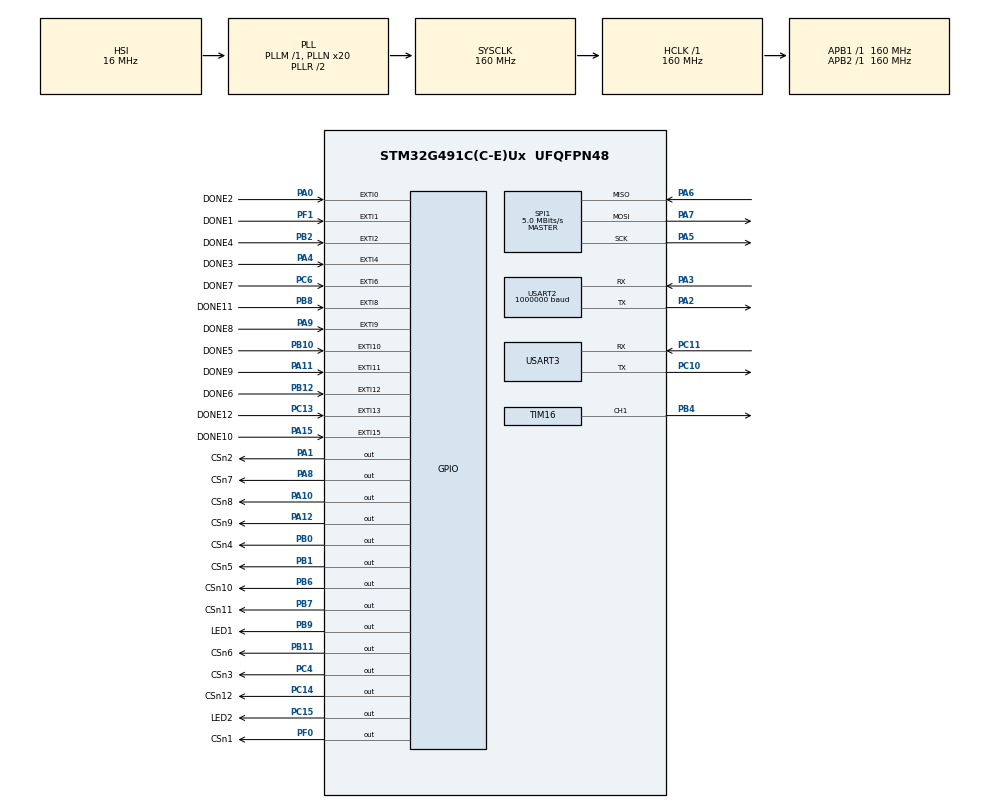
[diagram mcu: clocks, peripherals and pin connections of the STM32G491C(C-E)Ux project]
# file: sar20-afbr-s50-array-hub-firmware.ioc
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Dma.Request0=USART2_RX
Dma.Request1=USART2_TX
Dma.USART2_RX.0.Direction=DMA_PERIPH_TO_MEMORY
Dma.USART2_RX.0.EventEnable=DISABLE
Dma.USART2_RX.0.Instance=DMA1_Channel1
Dma.USART2_RX.0.MemDataAlignment=DMA_MDATAALIGN_BYTE
Dma.USART2_RX.0.MemInc=DMA_MINC_ENABLE
Dma.USART2_RX.0.Mode=DMA_NORMAL
Dma.USART2_RX.0.PeriphDataAlignment=DMA_PDATAALIGN_BYTE
Dma.USART2_RX.0.PeriphInc=DMA_PINC_DISABLE
Dma.USART2_RX.0.Polarity=HAL_DMAMUX_REQ_GEN_RISING
Dma.USART2_RX.0.Priority=DMA_PRIORITY_LOW
Dma.USART2_RX.0.RequestNumber=1
Dma.USART2_RX.0.SignalID=NONE
Dma.USART2_RX.0.SyncEnable=DISABLE
Dma.USART2_RX.0.SyncPolarity=HAL_DMAMUX_SYNC_NO_EVENT
Dma.USART2_RX.0.SyncRequestNumber=1
Dma.USART2_RX.0.SyncSignalID=NONE
Dma.USART2_TX.1.Direction=DMA_MEMORY_TO_PERIPH
Dma.USART2_TX.1.EventEnable=DISABLE
Dma.USART2_TX.1.Instance=DMA1_Channel2
Dma.USART2_TX.1.MemDataAlignment=DMA_MDATAALIGN_BYTE
Dma.USART2_TX.1.MemInc=DMA_MINC_ENABLE
Dma.USART2_TX.1.Mode=DMA_NORMAL
Dma.USART2_TX.1.PeriphDataAlignment=DMA_PDATAALIGN_BYTE
Dma.USART2_TX.1.PeriphInc=DMA_PINC_DISABLE
Dma.USART2_TX.1.Polarity=HAL_DMAMUX_REQ_GEN_RISING
Dma.USART2_TX.1.Priority=DMA_PRIORITY_LOW
Dma.USART2_TX.1.RequestNumber=1
Dma.USART2_TX.1.SignalID=NONE
Dma.USART2_TX.1.SyncEnable=DISABLE
Dma.USART2_TX.1.SyncPolarity=HAL_DMAMUX_SYNC_NO_EVENT
Dma.USART2_TX.1.SyncRequestNumber=1
Dma.USART2_TX.1.SyncSignalID=NONE
Mcu.Family=STM32G4
Mcu.Name=STM32G491C(C-E)Ux
Mcu.Package=UFQFPN48
NVIC.DMA1_Channel1_IRQn=true\:0\:0\:false\:false\:true\:false\:true
NVIC.DMA1_Channel2_IRQn=true\:0\:0\:false\:false\:true\:false\:true
NVIC.EXTI0_IRQn=true\:0\:0\:false\:false\:true\:true\:true
NVIC.EXTI15_10_IRQn=true\:0\:0\:false\:false\:true\:true\:true
NVIC.EXTI1_IRQn=true\:0\:0\:false\:false\:true\:true\:true
NVIC.EXTI2_IRQn=true\:0\:0\:false\:false\:true\:true\:true
NVIC.EXTI4_IRQn=true\:0\:0\:false\:false\:true\:true\:true
NVIC.EXTI9_5_IRQn=true\:0\:0\:false\:false\:true\:true\:true
NVIC.PriorityGroup=NVIC_PRIORITYGROUP_4
NVIC.USART2_IRQn=true\:0\:0\:false\:false\:true\:true\:true
PA0.GPIO_Label=DONE2
PA0.Signal=GPXTI0
PA1.GPIO_Label=CSn2
PA1.PinState=GPIO_PIN_SET
PA1.Signal=GPIO_Output
PA10.GPIO_Label=CSn8
PA10.GPIO_ModeDefaultOutputPP=GPIO_MODE_OUTPUT_PP
PA10.GPIO_PuPd=GPIO_NOPULL
PA10.GPIO_Speed=GPIO_SPEED_FREQ_LOW
PA10.PinState=GPIO_PIN_SET
PA10.Signal=GPIO_Output
PA11.GPIO_Label=DONE9
PA11.Signal=GPXTI11
PA12.GPIO_Label=CSn9
PA12.GPIO_ModeDefaultOutputPP=GPIO_MODE_OUTPUT_PP
PA12.GPIO_PuPd=GPIO_NOPULL
PA12.GPIO_Speed=GPIO_SPEED_FREQ_LOW
PA12.PinState=GPIO_PIN_SET
PA12.Signal=GPIO_Output
PA13.Mode=Serial_Wire
PA13.Signal=SYS_JTMS-SWDIO
PA14.Mode=Serial_Wire
PA14.Signal=SYS_JTCK-SWCLK
PA15.GPIO_Label=DONE10
PA15.Signal=GPXTI15
PA2.Mode=Asynchronous
PA2.Signal=USART2_TX
PA3.Mode=Asynchronous
PA3.Signal=USART2_RX
PA4.GPIO_Label=DONE3
PA4.Signal=GPXTI4
PA5.GPIO_Speed=GPIO_SPEED_FREQ_VERY_HIGH
PA5.Mode=Full_Duplex_Master
PA5.Signal=SPI1_SCK
PA6.GPIO_Speed=GPIO_SPEED_FREQ_VERY_HIGH
PA6.Mode=Full_Duplex_Master
PA6.Signal=SPI1_MISO
PA7.GPIO_Speed=GPIO_SPEED_FREQ_VERY_HIGH
PA7.Mode=Full_Duplex_Master
PA7.Signal=SPI1_MOSI
PA8.GPIO_Label=CSn7
PA8.GPIO_ModeDefaultOutputPP=GPIO_MODE_OUTPUT_PP
PA8.GPIO_PuPd=GPIO_NOPULL
PA8.GPIO_Speed=GPIO_SPEED_FREQ_LOW
PA8.PinState=GPIO_PIN_SET
PA8.Signal=GPIO_Output
PA9.GPIO_Label=DONE8
PA9.Signal=GPXTI9
PB0.GPIO_Label=CSn4
PB0.GPIO_ModeDefaultOutputPP=GPIO_MODE_OUTPUT_PP
PB0.GPIO_PuPd=GPIO_NOPULL
PB0.GPIO_Speed=GPIO_SPEED_FREQ_LOW
PB0.PinState=GPIO_PIN_SET
PB0.Signal=GPIO_Output
PB1.GPIO_Label=CSn5
PB1.GPIO_ModeDefaultOutputPP=GPIO_MODE_OUTPUT_PP
PB1.GPIO_PuPd=GPIO_NOPULL
PB1.GPIO_Speed=GPIO_SPEED_FREQ_LOW
PB1.PinState=GPIO_PIN_SET
PB1.Signal=GPIO_Output
PB10.GPIO_Label=DONE5
PB10.Signal=GPXTI10
PB11.GPIO_Label=CSn6
PB11.GPIO_ModeDefaultOutputPP=GPIO_MODE_OUTPUT_PP
PB11.GPIO_PuPd=GPIO_NOPULL
PB11.GPIO_Speed=GPIO_SPEED_FREQ_LOW
PB11.PinState=GPIO_PIN_SET
PB11.Signal=GPIO_Output
PB12.GPIO_Label=DONE6
PB12.Signal=GPXTI12
PB2.GPIO_Label=DONE4
PB2.Signal=GPXTI2
PB4.Signal=S_TIM16_CH1
PB6.GPIO_Label=CSn10
PB6.GPIO_ModeDefaultOutputPP=GPIO_MODE_OUTPUT_PP
PB6.GPIO_PuPd=GPIO_NOPULL
PB6.GPIO_Speed=GPIO_SPEED_FREQ_LOW
PB6.PinState=GPIO_PIN_SET
PB6.Signal=GPIO_Output
PB7.GPIO_Label=CSn11
PB7.GPIO_ModeDefaultOutputPP=GPIO_MODE_OUTPUT_PP
PB7.GPIO_PuPd=GPIO_NOPULL
PB7.GPIO_Speed=GPIO_SPEED_FREQ_LOW
PB7.PinState=GPIO_PIN_SET
PB7.Signal=GPIO_Output
PB8-BOOT0.GPIO_Label=DONE11
PB8-BOOT0.Signal=GPXTI8
PB9.GPIO_Label=LED1
PB9.Signal=GPIO_Output
PC10.Mode=Asynchronous
PC10.Signal=USART3_TX
PC11.Mode=Asynchronous
PC11.Signal=USART3_RX
PC13.GPIO_Label=DONE12
PC13.Signal=GPXTI13
PC14-OSC32_IN.GPIO_Label=CSn12
PC14-OSC32_IN.GPIO_ModeDefaultOutputPP=GPIO_MODE_OUTPUT_PP
PC14-OSC32_IN.GPIO_PuPd=GPIO_NOPULL
PC14-OSC32_IN.GPIO_Speed=GPIO_SPEED_FREQ_LOW
PC14-OSC32_IN.PinState=GPIO_PIN_SET
PC14-OSC32_IN.Signal=GPIO_Output
PC15-OSC32_OUT.GPIO_Label=LED2
PC15-OSC32_OUT.Signal=GPIO_Output
PC4.GPIO_Label=CSn3
PC4.GPIO_ModeDefaultOutputPP=GPIO_MODE_OUTPUT_PP
PC4.GPIO_PuPd=GPIO_NOPULL
PC4.GPIO_Speed=GPIO_SPEED_FREQ_LOW
PC4.PinState=GPIO_PIN_SET
PC4.Signal=GPIO_Output
PC6.GPIO_Label=DONE7
PC6.Signal=GPXTI6
PF0-OSC_IN.GPIO_Label=CSn1
PF0-OSC_IN.PinState=GPIO_PIN_SET
PF0-OSC_IN.Signal=GPIO_Output
PF1-OSC_OUT.GPIO_Label=DONE1
PF1-OSC_OUT.Signal=GPXTI1
ProjectManager.HeapSize=0x200
ProjectManager.StackSize=0x400
ProjectManager.TargetToolchain=STM32CubeIDE
RCC.ADC12Freq_Value=160000000
RCC.ADC345Freq_Value=160000000
RCC.AHBFreq_Value=160000000
RCC.APB1Freq_Value=160000000
RCC.APB1TimFreq_Value=160000000
RCC.APB2Freq_Value=160000000
RCC.APB2TimFreq_Value=160000000
RCC.CortexFreq_Value=160000000
RCC.EXTERNAL_CLOCK_VALUE=12288000
RCC.HCLKFreq_Value=160000000
RCC.HSE_VALUE=8000000
RCC.HSI48_VALUE=48000000
RCC.HSI_VALUE=16000000
RCC.LSE_VALUE=32768
RCC.PLLN=20
RCC.SYSCLKFreq_VALUE=160000000
RCC.SYSCLKSource=RCC_SYSCLKSOURCE_PLLCLK
RCC.USBFreq_Value=48000000
RCC.VCOOutputFreq_Value=320000000
SH.S_TIM16_CH1.0=TIM16_CH1,PWM Generation1 CH1
SPI1.BaudRatePrescaler=SPI_BAUDRATEPRESCALER_32
SPI1.CalculateBaudRate=5.0 MBits/s
SPI1.DataSize=SPI_DATASIZE_16BIT
SPI1.Direction=SPI_DIRECTION_2LINES
SPI1.Mode=SPI_MODE_MASTER
SPI1.NSSPMode=SPI_NSS_PULSE_DISABLE
SPI1.VirtualType=VM_MASTER
TIM16.Channel=TIM_CHANNEL_1
TIM16.PeriodNoDither=63999
TIM16.Prescaler=24
TIM16.PulseNoDither_1=640
USART2.BaudRate=1000000
USART2.VirtualMode-Asynchronous=VM_ASYNC
USART3.VirtualMode-Asynchronous=VM_ASYNC
VP_SYS_VS_DBSignals.Mode=DisableDeadBatterySignals
VP_TIM16_VS_ClockSourceINT.Mode=Enable_Timer
board=custom

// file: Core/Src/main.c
/* USER CODE BEGIN Header */
/**
  ******************************************************************************
  * @file           : main.c
  * @brief          : Main program body
  ******************************************************************************
  * @attention
  *
  * <h2><center>&copy; Copyright (c) 2021 STMicroelectronics.
  * All rights reserved.</center></h2>
  *
  * This software component is licensed by ST under BSD 3-Clause license,
  * the "License"; You may not use this file except in compliance with the
  * License. You may obtain a copy of the License at:
  *                        opensource.org/licenses/BSD-3-Clause
  *
  ******************************************************************************
  */
/* USER CODE END Header */
#include "main.h"

/* USER CODE BEGIN Includes */
#include <string.h>
#include <stdbool.h>
/* USER CODE END Includes */

/* USER CODE BEGIN PTD */
typedef struct __attribute__((packed)) DebugFeedback {
  int16_t distances[12];
  uint16_t delimiter;
} DebugFeedback;

typedef struct __attribute__((packed)) Feedback {
  int16_t distances[12];
} Feedback;

typedef struct {
  GPIO_TypeDef *port;
  uint16_t pin;
} PortPin;
/* USER CODE END PTD */

SPI_HandleTypeDef hspi1;

TIM_HandleTypeDef htim16;

UART_HandleTypeDef huart2;
UART_HandleTypeDef huart3;
DMA_HandleTypeDef hdma_usart2_rx;
DMA_HandleTypeDef hdma_usart2_tx;

/* USER CODE BEGIN PV */
DebugFeedback debugFeedback = {
    .distances = {},
    .delimiter = 0x0a0d
};

Feedback feedback = {
    .distances = {}
};

PortPin chipSelectPortPins[12] = {
    {CSn1_GPIO_Port, CSn1_Pin},
    {CSn2_GPIO_Port, CSn2_Pin},
    {CSn3_GPIO_Port, CSn3_Pin},
    {CSn4_GPIO_Port, CSn4_Pin},
    {CSn5_GPIO_Port, CSn5_Pin},
    {CSn6_GPIO_Port, CSn6_Pin},
    {CSn7_GPIO_Port, CSn7_Pin},
    {CSn8_GPIO_Port, CSn8_Pin},
    {CSn9_GPIO_Port, CSn9_Pin},
    {CSn10_GPIO_Port, CSn10_Pin},
    {CSn11_GPIO_Port, CSn11_Pin},
    {CSn12_GPIO_Port, CSn12_Pin},
};

int16_t distances[12] = {};
volatile uint16_t doneFlags = 0;
/* USER CODE END PV */

void SystemClock_Config(void);
static void MX_GPIO_Init(void);
static void MX_USART3_UART_Init(void);
static void MX_SPI1_Init(void);
static void MX_TIM16_Init(void);
static void MX_DMA_Init(void);
static void MX_USART2_UART_Init(void);

/* USER CODE BEGIN 0 */
void HAL_GPIO_EXTI_Callback(uint16_t GPIO_Pin) {
  doneFlags |= GPIO_Pin;
}
/* USER CODE END 0 */

int main(void)
{

  /* MCU Configuration--------------------------------------------------------*/

  /* Reset of all peripherals, Initializes the Flash interface and the Systick. */
  HAL_Init();

  /* Configure the system clock */
  SystemClock_Config();

  /* Initialize all configured peripherals */
  MX_GPIO_Init();
  MX_USART3_UART_Init();
  MX_SPI1_Init();
  MX_TIM16_Init();
  MX_DMA_Init();
  MX_USART2_UART_Init();
  /* USER CODE BEGIN 2 */
  uint16_t donePinsMask = DONE1_Pin | DONE2_Pin | DONE3_Pin | DONE4_Pin | DONE5_Pin | DONE6_Pin
      | DONE7_Pin | DONE8_Pin | DONE9_Pin | DONE10_Pin | DONE11_Pin | DONE12_Pin;

  HAL_Delay(1000);

  TIM16->PSC = 24;
  HAL_TIM_PWM_Start(&htim16, TIM_CHANNEL_1);

  //uint8_t rxValue = 0;
  //HAL_UART_Receive_DMA(&huart2, &rxValue, 1);
  /* USER CODE END 2 */

  /* Infinite loop */
  while (1)
  {

    /* USER CODE BEGIN 3 */
    if (doneFlags == donePinsMask) {
      doneFlags = 0;

      HAL_GPIO_TogglePin(LED1_GPIO_Port, LED1_Pin);

      HAL_GPIO_WritePin(LED2_GPIO_Port, LED2_Pin, GPIO_PIN_SET);

      for (int i = 0; i < sizeof(chipSelectPortPins) / sizeof(*chipSelectPortPins); i++) {
        HAL_GPIO_WritePin(chipSelectPortPins[i].port, chipSelectPortPins[i].pin, GPIO_PIN_RESET);
        HAL_SPI_Receive(&hspi1, (uint8_t*)&distances[i], 1, 100);
        HAL_GPIO_WritePin(chipSelectPortPins[i].port, chipSelectPortPins[i].pin, GPIO_PIN_SET);
      }

      memcpy(feedback.distances, distances, sizeof(feedback.distances));
      HAL_UART_Transmit_DMA(&huart2, (uint8_t*)&feedback, sizeof(feedback));

      //HAL_UART_Transmit(&huart2, (uint8_t*)&feedback, sizeof(feedback), 100);

      HAL_GPIO_WritePin(LED2_GPIO_Port, LED2_Pin, GPIO_PIN_RESET);

      memcpy(debugFeedback.distances, distances, sizeof(debugFeedback.distances));
      HAL_UART_Transmit(&huart3, (uint8_t*)&debugFeedback, sizeof(debugFeedback), 100);
    }
  }
  /* USER CODE END 3 */
}

void SystemClock_Config(void)
{
  RCC_OscInitTypeDef RCC_OscInitStruct = {0};
  RCC_ClkInitTypeDef RCC_ClkInitStruct = {0};
  RCC_PeriphCLKInitTypeDef PeriphClkInit = {0};

  /** Configure the main internal regulator output voltage
  */
  HAL_PWREx_ControlVoltageScaling(PWR_REGULATOR_VOLTAGE_SCALE1_BOOST);
  /** Initializes the RCC Oscillators according to the specified parameters
  * in the RCC_OscInitTypeDef structure.
  */
  RCC_OscInitStruct.OscillatorType = RCC_OSCILLATORTYPE_HSI;
  RCC_OscInitStruct.HSIState = RCC_HSI_ON;
  RCC_OscInitStruct.HSICalibrationValue = RCC_HSICALIBRATION_DEFAULT;
  RCC_OscInitStruct.PLL.PLLState = RCC_PLL_ON;
  RCC_OscInitStruct.PLL.PLLSource = RCC_PLLSOURCE_HSI;
  RCC_OscInitStruct.PLL.PLLM = RCC_PLLM_DIV1;
  RCC_OscInitStruct.PLL.PLLN = 20;
  RCC_OscInitStruct.PLL.PLLP = RCC_PLLP_DIV2;
  RCC_OscInitStruct.PLL.PLLQ = RCC_PLLQ_DIV2;
  RCC_OscInitStruct.PLL.PLLR = RCC_PLLR_DIV2;
  if (HAL_RCC_OscConfig(&RCC_OscInitStruct) != HAL_OK)
  {
    Error_Handler();
  }
  /** Initializes the CPU, AHB and APB buses clocks
  */
  RCC_ClkInitStruct.ClockType = RCC_CLOCKTYPE_HCLK|RCC_CLOCKTYPE_SYSCLK
                              |RCC_CLOCKTYPE_PCLK1|RCC_CLOCKTYPE_PCLK2;
  RCC_ClkInitStruct.SYSCLKSource = RCC_SYSCLKSOURCE_PLLCLK;
  RCC_ClkInitStruct.AHBCLKDivider = RCC_SYSCLK_DIV1;
  RCC_ClkInitStruct.APB1CLKDivider = RCC_HCLK_DIV1;
  RCC_ClkInitStruct.APB2CLKDivider = RCC_HCLK_DIV1;

  if (HAL_RCC_ClockConfig(&RCC_ClkInitStruct, FLASH_LATENCY_4) != HAL_OK)
  {
    Error_Handler();
  }
  /** Initializes the peripherals clocks
  */
  PeriphClkInit.PeriphClockSelection = RCC_PERIPHCLK_USART2|RCC_PERIPHCLK_USART3;
  PeriphClkInit.Usart2ClockSelection = RCC_USART2CLKSOURCE_PCLK1;
  PeriphClkInit.Usart3ClockSelection = RCC_USART3CLKSOURCE_PCLK1;
  if (HAL_RCCEx_PeriphCLKConfig(&PeriphClkInit) != HAL_OK)
  {
    Error_Handler();
  }
}

static void MX_SPI1_Init(void)
{

  /* SPI1 parameter configuration*/
  hspi1.Instance = SPI1;
  hspi1.Init.Mode = SPI_MODE_MASTER;
  hspi1.Init.Direction = SPI_DIRECTION_2LINES;
  hspi1.Init.DataSize = SPI_DATASIZE_16BIT;
  hspi1.Init.CLKPolarity = SPI_POLARITY_LOW;
  hspi1.Init.CLKPhase = SPI_PHASE_1EDGE;
  hspi1.Init.NSS = SPI_NSS_SOFT;
  hspi1.Init.BaudRatePrescaler = SPI_BAUDRATEPRESCALER_32;
  hspi1.Init.FirstBit = SPI_FIRSTBIT_MSB;
  hspi1.Init.TIMode = SPI_TIMODE_DISABLE;
  hspi1.Init.CRCCalculation = SPI_CRCCALCULATION_DISABLE;
  hspi1.Init.CRCPolynomial = 7;
  hspi1.Init.CRCLength = SPI_CRC_LENGTH_DATASIZE;
  hspi1.Init.NSSPMode = SPI_NSS_PULSE_DISABLE;
  if (HAL_SPI_Init(&hspi1) != HAL_OK)
  {
    Error_Handler();
  }

}

static void MX_TIM16_Init(void)
{

  TIM_OC_InitTypeDef sConfigOC = {0};
  TIM_BreakDeadTimeConfigTypeDef sBreakDeadTimeConfig = {0};

  htim16.Instance = TIM16;
  htim16.Init.Prescaler = 24;
  htim16.Init.CounterMode = TIM_COUNTERMODE_UP;
  htim16.Init.Period = 63999;
  htim16.Init.ClockDivision = TIM_CLOCKDIVISION_DIV1;
  htim16.Init.RepetitionCounter = 0;
  htim16.Init.AutoReloadPreload = TIM_AUTORELOAD_PRELOAD_DISABLE;
  if (HAL_TIM_Base_Init(&htim16) != HAL_OK)
  {
    Error_Handler();
  }
  if (HAL_TIM_PWM_Init(&htim16) != HAL_OK)
  {
    Error_Handler();
  }
  sConfigOC.OCMode = TIM_OCMODE_PWM1;
  sConfigOC.Pulse = 640;
  sConfigOC.OCPolarity = TIM_OCPOLARITY_HIGH;
  sConfigOC.OCNPolarity = TIM_OCNPOLARITY_HIGH;
  sConfigOC.OCFastMode = TIM_OCFAST_DISABLE;
  sConfigOC.OCIdleState = TIM_OCIDLESTATE_RESET;
  sConfigOC.OCNIdleState = TIM_OCNIDLESTATE_RESET;
  if (HAL_TIM_PWM_ConfigChannel(&htim16, &sConfigOC, TIM_CHANNEL_1) != HAL_OK)
  {
    Error_Handler();
  }
  sBreakDeadTimeConfig.OffStateRunMode = TIM_OSSR_DISABLE;
  sBreakDeadTimeConfig.OffStateIDLEMode = TIM_OSSI_DISABLE;
  sBreakDeadTimeConfig.LockLevel = TIM_LOCKLEVEL_OFF;
  sBreakDeadTimeConfig.DeadTime = 0;
  sBreakDeadTimeConfig.BreakState = TIM_BREAK_DISABLE;
  sBreakDeadTimeConfig.BreakPolarity = TIM_BREAKPOLARITY_HIGH;
  sBreakDeadTimeConfig.BreakFilter = 0;
  sBreakDeadTimeConfig.AutomaticOutput = TIM_AUTOMATICOUTPUT_DISABLE;
  if (HAL_TIMEx_ConfigBreakDeadTime(&htim16, &sBreakDeadTimeConfig) != HAL_OK)
  {
    Error_Handler();
  }
  HAL_TIM_MspPostInit(&htim16);

}

static void MX_USART2_UART_Init(void)
{

  huart2.Instance = USART2;
  huart2.Init.BaudRate = 1000000;
  huart2.Init.WordLength = UART_WORDLENGTH_8B;
  huart2.Init.StopBits = UART_STOPBITS_1;
  huart2.Init.Parity = UART_PARITY_NONE;
  huart2.Init.Mode = UART_MODE_TX_RX;
  huart2.Init.HwFlowCtl = UART_HWCONTROL_NONE;
  huart2.Init.OverSampling = UART_OVERSAMPLING_16;
  huart2.Init.OneBitSampling = UART_ONE_BIT_SAMPLE_DISABLE;
  huart2.Init.ClockPrescaler = UART_PRESCALER_DIV1;
  huart2.AdvancedInit.AdvFeatureInit = UART_ADVFEATURE_NO_INIT;
  if (HAL_UART_Init(&huart2) != HAL_OK)
  {
    Error_Handler();
  }
  if (HAL_UARTEx_SetTxFifoThreshold(&huart2, UART_TXFIFO_THRESHOLD_1_8) != HAL_OK)
  {
    Error_Handler();
  }
  if (HAL_UARTEx_SetRxFifoThreshold(&huart2, UART_RXFIFO_THRESHOLD_1_8) != HAL_OK)
  {
    Error_Handler();
  }
  if (HAL_UARTEx_DisableFifoMode(&huart2) != HAL_OK)
  {
    Error_Handler();
  }

}

static void MX_USART3_UART_Init(void)
{

  huart3.Instance = USART3;
  huart3.Init.BaudRate = 115200;
  huart3.Init.WordLength = UART_WORDLENGTH_8B;
  huart3.Init.StopBits = UART_STOPBITS_1;
  huart3.Init.Parity = UART_PARITY_NONE;
  huart3.Init.Mode = UART_MODE_TX_RX;
  huart3.Init.HwFlowCtl = UART_HWCONTROL_NONE;
  huart3.Init.OverSampling = UART_OVERSAMPLING_16;
  huart3.Init.OneBitSampling = UART_ONE_BIT_SAMPLE_DISABLE;
  huart3.Init.ClockPrescaler = UART_PRESCALER_DIV1;
  huart3.AdvancedInit.AdvFeatureInit = UART_ADVFEATURE_NO_INIT;
  if (HAL_UART_Init(&huart3) != HAL_OK)
  {
    Error_Handler();
  }
  if (HAL_UARTEx_SetTxFifoThreshold(&huart3, UART_TXFIFO_THRESHOLD_1_8) != HAL_OK)
  {
    Error_Handler();
  }
  if (HAL_UARTEx_SetRxFifoThreshold(&huart3, UART_RXFIFO_THRESHOLD_1_8) != HAL_OK)
  {
    Error_Handler();
  }
  if (HAL_UARTEx_DisableFifoMode(&huart3) != HAL_OK)
  {
    Error_Handler();
  }

}

static void MX_DMA_Init(void)
{

  /* DMA controller clock enable */
  __HAL_RCC_DMAMUX1_CLK_ENABLE();
  __HAL_RCC_DMA1_CLK_ENABLE();

  /* DMA interrupt init */
  /* DMA1_Channel1_IRQn interrupt configuration */
  HAL_NVIC_SetPriority(DMA1_Channel1_IRQn, 0, 0);
  HAL_NVIC_EnableIRQ(DMA1_Channel1_IRQn);
  /* DMA1_Channel2_IRQn interrupt configuration */
  HAL_NVIC_SetPriority(DMA1_Channel2_IRQn, 0, 0);
  HAL_NVIC_EnableIRQ(DMA1_Channel2_IRQn);

}

static void MX_GPIO_Init(void)
{
  GPIO_InitTypeDef GPIO_InitStruct = {0};

  /* GPIO Ports Clock Enable */
  __HAL_RCC_GPIOC_CLK_ENABLE();
  __HAL_RCC_GPIOF_CLK_ENABLE();
  __HAL_RCC_GPIOA_CLK_ENABLE();
  __HAL_RCC_GPIOB_CLK_ENABLE();

  /*Configure GPIO pin Output Level */
  HAL_GPIO_WritePin(GPIOC, CSn12_Pin|CSn3_Pin, GPIO_PIN_SET);

  /*Configure GPIO pin Output Level */
  HAL_GPIO_WritePin(LED2_GPIO_Port, LED2_Pin, GPIO_PIN_RESET);

  /*Configure GPIO pin Output Level */
  HAL_GPIO_WritePin(CSn1_GPIO_Port, CSn1_Pin, GPIO_PIN_SET);

  /*Configure GPIO pin Output Level */
  HAL_GPIO_WritePin(GPIOA, CSn2_Pin|CSn7_Pin|CSn8_Pin|CSn9_Pin, GPIO_PIN_SET);

  /*Configure GPIO pin Output Level */
  HAL_GPIO_WritePin(GPIOB, CSn4_Pin|CSn5_Pin|CSn6_Pin|CSn10_Pin
                          |CSn11_Pin, GPIO_PIN_SET);

  /*Configure GPIO pin Output Level */
  HAL_GPIO_WritePin(LED1_GPIO_Port, LED1_Pin, GPIO_PIN_RESET);

  /*Configure GPIO pins : DONE12_Pin DONE7_Pin */
  GPIO_InitStruct.Pin = DONE12_Pin|DONE7_Pin;
  GPIO_InitStruct.Mode = GPIO_MODE_IT_RISING;
  GPIO_InitStruct.Pull = GPIO_NOPULL;
  HAL_GPIO_Init(GPIOC, &GPIO_InitStruct);

  /*Configure GPIO pins : CSn12_Pin LED2_Pin CSn3_Pin */
  GPIO_InitStruct.Pin = CSn12_Pin|LED2_Pin|CSn3_Pin;
  GPIO_InitStruct.Mode = GPIO_MODE_OUTPUT_PP;
  GPIO_InitStruct.Pull = GPIO_NOPULL;
  GPIO_InitStruct.Speed = GPIO_SPEED_FREQ_LOW;
  HAL_GPIO_Init(GPIOC, &GPIO_InitStruct);

  /*Configure GPIO pin : CSn1_Pin */
  GPIO_InitStruct.Pin = CSn1_Pin;
  GPIO_InitStruct.Mode = GPIO_MODE_OUTPUT_PP;
  GPIO_InitStruct.Pull = GPIO_NOPULL;
  GPIO_InitStruct.Speed = GPIO_SPEED_FREQ_LOW;
  HAL_GPIO_Init(CSn1_GPIO_Port, &GPIO_InitStruct);

  /*Configure GPIO pin : DONE1_Pin */
  GPIO_InitStruct.Pin = DONE1_Pin;
  GPIO_InitStruct.Mode = GPIO_MODE_IT_RISING;
  GPIO_InitStruct.Pull = GPIO_NOPULL;
  HAL_GPIO_Init(DONE1_GPIO_Port, &GPIO_InitStruct);

  /*Configure GPIO pins : DONE2_Pin DONE3_Pin DONE8_Pin DONE9_Pin
                           DONE10_Pin */
  GPIO_InitStruct.Pin = DONE2_Pin|DONE3_Pin|DONE8_Pin|DONE9_Pin
                          |DONE10_Pin;
  GPIO_InitStruct.Mode = GPIO_MODE_IT_RISING;
  GPIO_InitStruct.Pull = GPIO_NOPULL;
  HAL_GPIO_Init(GPIOA, &GPIO_InitStruct);

  /*Configure GPIO pins : CSn2_Pin CSn7_Pin CSn8_Pin CSn9_Pin */
  GPIO_InitStruct.Pin = CSn2_Pin|CSn7_Pin|CSn8_Pin|CSn9_Pin;
  GPIO_InitStruct.Mode = GPIO_MODE_OUTPUT_PP;
  GPIO_InitStruct.Pull = GPIO_NOPULL;
  GPIO_InitStruct.Speed = GPIO_SPEED_FREQ_LOW;
  HAL_GPIO_Init(GPIOA, &GPIO_InitStruct);

  /*Configure GPIO pins : CSn4_Pin CSn5_Pin CSn6_Pin CSn10_Pin
                           CSn11_Pin LED1_Pin */
  GPIO_InitStruct.Pin = CSn4_Pin|CSn5_Pin|CSn6_Pin|CSn10_Pin
                          |CSn11_Pin|LED1_Pin;
  GPIO_InitStruct.Mode = GPIO_MODE_OUTPUT_PP;
  GPIO_InitStruct.Pull = GPIO_NOPULL;
  GPIO_InitStruct.Speed = GPIO_SPEED_FREQ_LOW;
  HAL_GPIO_Init(GPIOB, &GPIO_InitStruct);

  /*Configure GPIO pins : DONE4_Pin DONE5_Pin DONE6_Pin DONE11_Pin */
  GPIO_InitStruct.Pin = DONE4_Pin|DONE5_Pin|DONE6_Pin|DONE11_Pin;
  GPIO_InitStruct.Mode = GPIO_MODE_IT_RISING;
  GPIO_InitStruct.Pull = GPIO_NOPULL;
  HAL_GPIO_Init(GPIOB, &GPIO_InitStruct);

  /* EXTI interrupt init*/
  HAL_NVIC_SetPriority(EXTI0_IRQn, 0, 0);
  HAL_NVIC_EnableIRQ(EXTI0_IRQn);

  HAL_NVIC_SetPriority(EXTI1_IRQn, 0, 0);
  HAL_NVIC_EnableIRQ(EXTI1_IRQn);

  HAL_NVIC_SetPriority(EXTI2_IRQn, 0, 0);
  HAL_NVIC_EnableIRQ(EXTI2_IRQn);

  HAL_NVIC_SetPriority(EXTI4_IRQn, 0, 0);
  HAL_NVIC_EnableIRQ(EXTI4_IRQn);

  HAL_NVIC_SetPriority(EXTI9_5_IRQn, 0, 0);
  HAL_NVIC_EnableIRQ(EXTI9_5_IRQn);

  HAL_NVIC_SetPriority(EXTI15_10_IRQn, 0, 0);
  HAL_NVIC_EnableIRQ(EXTI15_10_IRQn);

}

void Error_Handler(void)
{
  __disable_irq();
  while (1)
  {
  }
}

/************************ (C) COPYRIGHT STMicroelectronics *****END OF FILE****/
